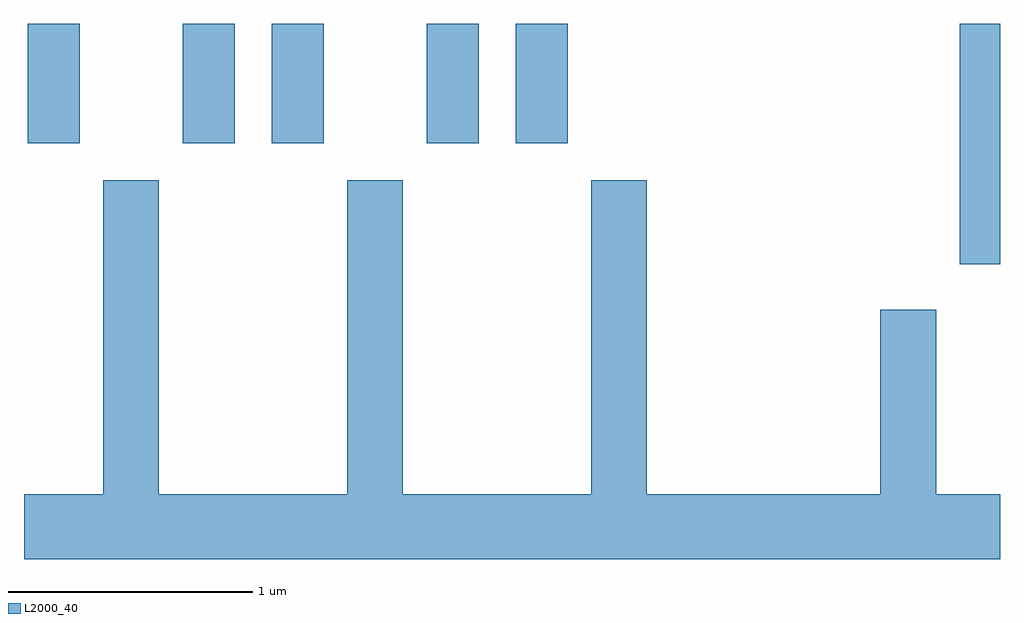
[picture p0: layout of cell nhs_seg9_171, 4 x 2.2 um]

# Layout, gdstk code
import gdstk
lib = gdstk.Library(unit=1e-6, precision=1e-09)
def R(c, l, rs):  # rectangles x0, y0, x1, y1
    for r in rs: c.add(gdstk.rectangle(r[:2], r[2:], *l))
def P(c, l, *ps):  # polygons
    for p in ps: c.add(gdstk.Polygon(p, *l))
L2000_40 = (2000, 40)

nhs_seg9_171 = lib.new_cell('nhs_seg9_171')
R(nhs_seg9_171, L2000_40, [(193.446,2017.446,193.611,2018.432), (189.626,2017.941,189.839,2018.432), (190.261,2017.941,190.474,2018.432), (190.626,2017.941,190.839,2018.432), (191.261,2017.941,191.474,2018.432), (191.626,2017.941,191.839,2018.432)])
P(nhs_seg9_171, L2000_40, [(193.611,2016.504),(193.349,2016.504),(193.349,2017.259),(193.121,2017.259),(193.121,2016.504),(192.164,2016.504),(192.164,2017.789),(191.936,2017.789),(191.936,2016.504),(191.164,2016.504),(191.164,2017.789),(190.936,2017.789),(190.936,2016.504),(190.164,2016.504),(190.164,2017.789),(189.936,2017.789),(189.936,2016.504),(189.611,2016.504),(189.611,2016.236),(193.611,2016.236)])

lib.write_gds('nhs_seg9_171.gds')
